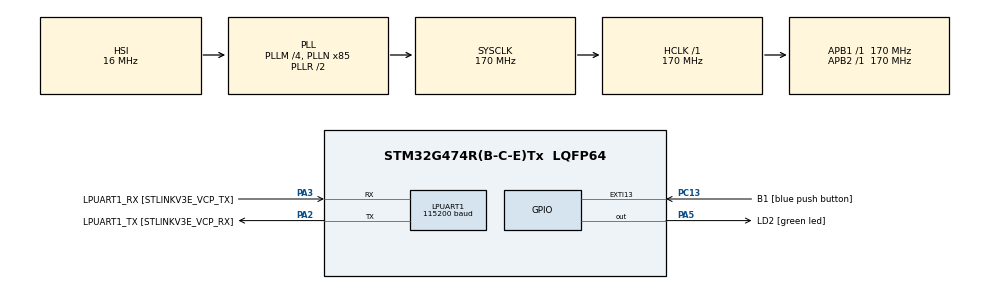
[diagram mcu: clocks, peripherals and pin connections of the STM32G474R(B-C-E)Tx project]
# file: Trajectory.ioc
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ARM.CMSIS-DSP.1.15.0.CMSISJjDSP=Source
ARM.CMSIS.6.0.0.CMSISJjCORE=true
LPUART1.BaudRate=115200
LPUART1.WordLength=UART_WORDLENGTH_8B
Mcu.Family=STM32G4
Mcu.Name=STM32G474R(B-C-E)Tx
Mcu.Package=LQFP64
NVIC.EXTI15_10_IRQn=true\:0\:0\:false\:false\:true\:true\:true\:true
NVIC.PriorityGroup=NVIC_PRIORITYGROUP_4
NVIC.TIM2_IRQn=true\:0\:0\:false\:false\:true\:true\:true\:true
PA13.GPIO_Label=T_SWDIO
PA13.Mode=Trace_Asynchronous_SW
PA13.Signal=SYS_JTMS-SWDIO
PA14.GPIO_Label=T_SWCLK
PA14.Mode=Trace_Asynchronous_SW
PA14.Signal=SYS_JTCK-SWCLK
PA2.GPIO_Label=LPUART1_TX [STLINKV3E_VCP_RX]
PA2.Mode=Asynchronous
PA2.Signal=LPUART1_TX
PA3.GPIO_Label=LPUART1_RX [STLINKV3E_VCP_TX]
PA3.Mode=Asynchronous
PA3.Signal=LPUART1_RX
PA5.GPIO_Label=LD2 [green led]
PA5.Signal=GPIO_Output
PB3.GPIO_Label=T_SWO
PB3.Mode=Trace_Asynchronous_SW
PB3.Signal=SYS_JTDO-SWO
PC13.GPIO_Label=B1 [blue push button]
PC13.Signal=GPXTI13
PC14-OSC32_IN.Mode=LSE-External-Oscillator
PC14-OSC32_IN.Signal=RCC_OSC32_IN
PC15-OSC32_OUT.Mode=LSE-External-Oscillator
PC15-OSC32_OUT.Signal=RCC_OSC32_OUT
PF0-OSC_IN.Mode=HSE-External-Oscillator
PF0-OSC_IN.Signal=RCC_OSC_IN
PF1-OSC_OUT.Mode=HSE-External-Oscillator
PF1-OSC_OUT.Signal=RCC_OSC_OUT
ProjectManager.HeapSize=0x200
ProjectManager.StackSize=0x400
ProjectManager.TargetToolchain=STM32CubeIDE
RCC.ADC12Freq_Value=170000000
RCC.ADC345Freq_Value=170000000
RCC.AHBFreq_Value=170000000
RCC.APB1Freq_Value=170000000
RCC.APB1TimFreq_Value=170000000
RCC.APB2Freq_Value=170000000
RCC.APB2TimFreq_Value=170000000
RCC.CortexFreq_Value=170000000
RCC.EXTERNAL_CLOCK_VALUE=12288000
RCC.HCLKFreq_Value=170000000
RCC.HSE_VALUE=24000000
RCC.HSI48_VALUE=48000000
RCC.HSI_VALUE=16000000
RCC.PLLM=RCC_PLLM_DIV4
RCC.PLLN=85
RCC.RTCClockSelection=RCC_RTCCLKSOURCE_LSE
RCC.SYSCLKFreq_VALUE=170000000
RCC.SYSCLKSource=RCC_SYSCLKSOURCE_PLLCLK
RCC.USBFreq_Value=170000000
RCC.VCOOutputFreq_Value=340000000
TIM2.PeriodNoDither=999
TIM2.Prescaler=169
VP_ARM.CMSIS-DSP_VS_CMSISJjDSP_1.15.0_1.15.0.Mode=CMSISJjDSP
VP_ARM.CMSIS_VS_CMSISJjCORE_6.0.0_6.0.0.Mode=CMSISJjCORE
VP_SYS_VS_DBSignals.Mode=DisableDeadBatterySignals
VP_TIM2_VS_ClockSourceINT.Mode=Internal
board=NUCLEO-G474RE

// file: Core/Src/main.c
/* USER CODE BEGIN Header */
/**
  ******************************************************************************
  * @file           : main.c
  * @brief          : Main program body
  ******************************************************************************
  * @attention
  *
  * Copyright (c) 2024 STMicroelectronics.
  * All rights reserved.
  *
  * This software is licensed under terms that can be found in the LICENSE file
  * in the root directory of this software component.
  * If no LICENSE file comes with this software, it is provided AS-IS.
  *
  ******************************************************************************
  */
/* USER CODE END Header */
#include "main.h"

/* USER CODE BEGIN Includes */
#include "arm_math.h"
/* USER CODE END Includes */

UART_HandleTypeDef hlpuart1;

TIM_HandleTypeDef htim2;

/* USER CODE BEGIN PV */
  double time_op = 2;    // stop time in seconds
  double position_goal = 600;   // stop position in meters
  double position_now = 0;
  double total_displacement = 0;
  double total_time = 0;
  double t_acc =0;
  double t_const = 0;
  double Peak = 0;
  uint64_t i = 0;
  int num_points = 2000;
  double t = 0;
  float velocity;
  float position;
  double startTime;
  uint16_t Mode = 0;
  uint64_t _micros = 0;
  int16_t Vfeedback = 0;
  arm_pid_instance_f32 PID = {0};
  float qei;
/* USER CODE END PV */

void SystemClock_Config(void);
static void MX_GPIO_Init(void);
static void MX_LPUART1_UART_Init(void);
static void MX_TIM2_Init(void);
/* USER CODE BEGIN PFP */
void generate_trapezoidal_velocity_profile(double t2, double x2);
float PlantSimulation(float VIn) ;
/* USER CODE END PFP */

int main(void)
{

  /* MCU Configuration--------------------------------------------------------*/

  /* Reset of all peripherals, Initializes the Flash interface and the Systick. */
  HAL_Init();

  /* Configure the system clock */
  SystemClock_Config();

  /* Initialize all configured peripherals */
  MX_GPIO_Init();
  MX_LPUART1_UART_Init();
  MX_TIM2_Init();
  /* USER CODE BEGIN 2 */
  PID.Kp =0.1;
  PID.Ki =0.00001;
  PID.Kd = 0.1;
  arm_pid_init_f32(&PID, 0);
  /* USER CODE END 2 */

  /* Infinite loop */
  while (1)
  {

    /* USER CODE BEGIN 3 */
	  if (Mode == 1)
	  {
		  generate_trapezoidal_velocity_profile(time_op, position_goal);
	  }
  }
  /* USER CODE END 3 */
}

void SystemClock_Config(void)
{
  RCC_OscInitTypeDef RCC_OscInitStruct = {0};
  RCC_ClkInitTypeDef RCC_ClkInitStruct = {0};

  /** Configure the main internal regulator output voltage
  */
  HAL_PWREx_ControlVoltageScaling(PWR_REGULATOR_VOLTAGE_SCALE1_BOOST);

  /** Initializes the RCC Oscillators according to the specified parameters
  * in the RCC_OscInitTypeDef structure.
  */
  RCC_OscInitStruct.OscillatorType = RCC_OSCILLATORTYPE_HSI;
  RCC_OscInitStruct.HSIState = RCC_HSI_ON;
  RCC_OscInitStruct.HSICalibrationValue = RCC_HSICALIBRATION_DEFAULT;
  RCC_OscInitStruct.PLL.PLLState = RCC_PLL_ON;
  RCC_OscInitStruct.PLL.PLLSource = RCC_PLLSOURCE_HSI;
  RCC_OscInitStruct.PLL.PLLM = RCC_PLLM_DIV4;
  RCC_OscInitStruct.PLL.PLLN = 85;
  RCC_OscInitStruct.PLL.PLLP = RCC_PLLP_DIV2;
  RCC_OscInitStruct.PLL.PLLQ = RCC_PLLQ_DIV2;
  RCC_OscInitStruct.PLL.PLLR = RCC_PLLR_DIV2;
  if (HAL_RCC_OscConfig(&RCC_OscInitStruct) != HAL_OK)
  {
    Error_Handler();
  }

  /** Initializes the CPU, AHB and APB buses clocks
  */
  RCC_ClkInitStruct.ClockType = RCC_CLOCKTYPE_HCLK|RCC_CLOCKTYPE_SYSCLK
                              |RCC_CLOCKTYPE_PCLK1|RCC_CLOCKTYPE_PCLK2;
  RCC_ClkInitStruct.SYSCLKSource = RCC_SYSCLKSOURCE_PLLCLK;
  RCC_ClkInitStruct.AHBCLKDivider = RCC_SYSCLK_DIV1;
  RCC_ClkInitStruct.APB1CLKDivider = RCC_HCLK_DIV1;
  RCC_ClkInitStruct.APB2CLKDivider = RCC_HCLK_DIV1;

  if (HAL_RCC_ClockConfig(&RCC_ClkInitStruct, FLASH_LATENCY_4) != HAL_OK)
  {
    Error_Handler();
  }
}

static void MX_LPUART1_UART_Init(void)
{

  hlpuart1.Instance = LPUART1;
  hlpuart1.Init.BaudRate = 115200;
  hlpuart1.Init.WordLength = UART_WORDLENGTH_8B;
  hlpuart1.Init.StopBits = UART_STOPBITS_1;
  hlpuart1.Init.Parity = UART_PARITY_NONE;
  hlpuart1.Init.Mode = UART_MODE_TX_RX;
  hlpuart1.Init.HwFlowCtl = UART_HWCONTROL_NONE;
  hlpuart1.Init.OneBitSampling = UART_ONE_BIT_SAMPLE_DISABLE;
  hlpuart1.Init.ClockPrescaler = UART_PRESCALER_DIV1;
  hlpuart1.AdvancedInit.AdvFeatureInit = UART_ADVFEATURE_NO_INIT;
  if (HAL_UART_Init(&hlpuart1) != HAL_OK)
  {
    Error_Handler();
  }
  if (HAL_UARTEx_SetTxFifoThreshold(&hlpuart1, UART_TXFIFO_THRESHOLD_1_8) != HAL_OK)
  {
    Error_Handler();
  }
  if (HAL_UARTEx_SetRxFifoThreshold(&hlpuart1, UART_RXFIFO_THRESHOLD_1_8) != HAL_OK)
  {
    Error_Handler();
  }
  if (HAL_UARTEx_DisableFifoMode(&hlpuart1) != HAL_OK)
  {
    Error_Handler();
  }

}

static void MX_TIM2_Init(void)
{

  TIM_ClockConfigTypeDef sClockSourceConfig = {0};
  TIM_MasterConfigTypeDef sMasterConfig = {0};

  htim2.Instance = TIM2;
  htim2.Init.Prescaler = 169;
  htim2.Init.CounterMode = TIM_COUNTERMODE_UP;
  htim2.Init.Period = 999;
  htim2.Init.ClockDivision = TIM_CLOCKDIVISION_DIV1;
  htim2.Init.AutoReloadPreload = TIM_AUTORELOAD_PRELOAD_DISABLE;
  if (HAL_TIM_Base_Init(&htim2) != HAL_OK)
  {
    Error_Handler();
  }
  sClockSourceConfig.ClockSource = TIM_CLOCKSOURCE_INTERNAL;
  if (HAL_TIM_ConfigClockSource(&htim2, &sClockSourceConfig) != HAL_OK)
  {
    Error_Handler();
  }
  sMasterConfig.MasterOutputTrigger = TIM_TRGO_RESET;
  sMasterConfig.MasterSlaveMode = TIM_MASTERSLAVEMODE_DISABLE;
  if (HAL_TIMEx_MasterConfigSynchronization(&htim2, &sMasterConfig) != HAL_OK)
  {
    Error_Handler();
  }

}

static void MX_GPIO_Init(void)
{
  GPIO_InitTypeDef GPIO_InitStruct = {0};

  /* GPIO Ports Clock Enable */
  __HAL_RCC_GPIOC_CLK_ENABLE();
  __HAL_RCC_GPIOF_CLK_ENABLE();
  __HAL_RCC_GPIOA_CLK_ENABLE();
  __HAL_RCC_GPIOB_CLK_ENABLE();

  /*Configure GPIO pin Output Level */
  HAL_GPIO_WritePin(LD2_GPIO_Port, LD2_Pin, GPIO_PIN_RESET);

  /*Configure GPIO pin : B1_Pin */
  GPIO_InitStruct.Pin = B1_Pin;
  GPIO_InitStruct.Mode = GPIO_MODE_IT_RISING;
  GPIO_InitStruct.Pull = GPIO_NOPULL;
  HAL_GPIO_Init(B1_GPIO_Port, &GPIO_InitStruct);

  /*Configure GPIO pin : LD2_Pin */
  GPIO_InitStruct.Pin = LD2_Pin;
  GPIO_InitStruct.Mode = GPIO_MODE_OUTPUT_PP;
  GPIO_InitStruct.Pull = GPIO_NOPULL;
  GPIO_InitStruct.Speed = GPIO_SPEED_FREQ_LOW;
  HAL_GPIO_Init(LD2_GPIO_Port, &GPIO_InitStruct);

  /* EXTI interrupt init*/
  HAL_NVIC_SetPriority(EXTI15_10_IRQn, 0, 0);
  HAL_NVIC_EnableIRQ(EXTI15_10_IRQn);

}

/* USER CODE BEGIN 4 */

void generate_trapezoidal_velocity_profile(double t2, double x2) {
  // Total displacement and time interval
	total_displacement = x2 - position_now;
	total_time = t2;

  // Calculate optimal acceleration time (t_acc) - Assume a reasonable value
	t_acc = total_time / 4;  // This is an assumption; you can adjust it

  // Remaining time for constant velocity phase
	t_const = total_time - 2 * t_acc;

  // Calculate peak velocity
	Peak = total_displacement / (t_acc + t_const);

	HAL_TIM_Base_Start_IT(&htim2);

	Mode = 0;

  }

void generate_Velocity()
{
	t = (time_op) * i / num_points;
		        if (t < t_acc) {
		          velocity = (Peak * (t / t_acc));
		        } else if (t >= t_acc && t <+ t_acc + t_const) {
		          velocity = Peak;
		        } else {
		          velocity = (Peak * ((time_op - t) / t_acc));
		        }
		        position += velocity/1000.0;

		        position_now = position;

		        Vfeedback = arm_pid_f32(&PID, position_now - qei);

		        if(Vfeedback < 0)
		        {
		        	__HAL_TIM_SET_COMPARE(&htim3, TIM_CHANNEL_1, Vfeedback);
		        	__HAL_TIM_SET_COMPARE(&htim3, TIM_CHANNEL_2, 0);
		        }
		        else if(Vfeedback > 0)
		        {
		        	__HAL_TIM_SET_COMPARE(&htim3, TIM_CHANNEL_2, Vfeedback);
		        	__HAL_TIM_SET_COMPARE(&htim3, TIM_CHANNEL_1, 0);
		        }
		        else
		        {
		        	__HAL_TIM_SET_COMPARE(&htim3, TIM_CHANNEL_2, Vfeedback);
		        	__HAL_TIM_SET_COMPARE(&htim3, TIM_CHANNEL_1, Vfeedback);
		        }

//		        qei = PlantSimulation(Vfeeback);

		        if ( i >= time_op*1000)
		        {
		        	__HAL_TIM_SET_COUNTER(&htim2, 0);
		        	HAL_TIM_Base_Stop_IT(&htim2);
		        	i = 0;
		        }
}

void HAL_GPIO_EXTI_Callback(uint16_t GPIO_Pin)
{
if(GPIO_Pin == GPIO_PIN_13)
{
	Mode = 1;
}
}

void HAL_TIM_PeriodElapsedCallback(TIM_HandleTypeDef *htim)
{
if(htim == &htim2)
{
	i+=1;
	generate_Velocity();

}
}

float PlantSimulation(float VIn) // run with fix frequency
{
static float speed =0;
static float qei =0;
float current= VIn - speed * 0.0123;
float torque = current * 0.456;
float acc = torque * 0.789;
speed += acc;
qei += speed;
return qei;
}

//uint64_t micros()
//{
//return __HAL_TIM_GET_COUNTER(&htim2)+_micros;
//}
/* USER CODE END 4 */

void Error_Handler(void)
{
  __disable_irq();
  while (1)
  {
  }
}
